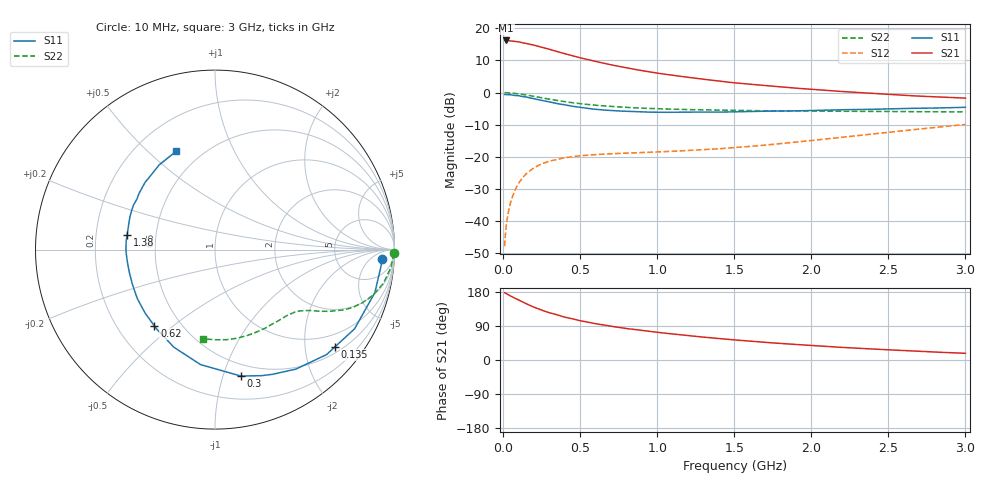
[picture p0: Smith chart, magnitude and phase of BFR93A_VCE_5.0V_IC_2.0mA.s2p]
! Infineon Technologies  Discrete & RF Semiconductors
! BFR93A
! VCE =  5.0 V,  IC =  2.0 mA
! Common Emitter S-Parameters:  Nov 2015
# GHz  S  MA  R  50
!  f  S11  S21  S12  S22
! GHz  MAG  ANG  MAG  ANG  MAG  ANG  MAG  ANG
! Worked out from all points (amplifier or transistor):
!   180 points, 10 MHz to 3 GHz, reference 50 ohm
!   highest |S21| = 16.2 dB at 20 MHz (marker M1)
!   |S21| within 3 dB of that: start of sweep to 318.7 MHz
!   unconditionally stable (mu >= 1): 991.1 MHz to 2.61 GHz
!   at 160 MHz: K = 0.20, MSG = 20.0 dB, |S12| = -24.9 dB
!   at 1.22 GHz: K = 1.12, MAG = 9.2 dB, |S12| = -18.0 dB
!   at 3 GHz: K = 0.92, MSG = 4.1 dB, |S12| = -9.9 dB
!   S11 on the Smith chart (normalised r, x): 10 MHz: 18, -14; 135 MHz: 0.64, -2.68; 300 MHz: 0.39, -1.15; 620 MHz: 0.36, -0.43; 1.38 GHz: 0.34, +0.07; 3 GHz: 0.37, +0.62
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0.01  0.9334 -3.1  6.434 177.7  0.0041 88.7  0.996 -1.2
0.02  0.9291 -6.0  6.439 175.3  0.0083 85.0  0.9937 -2.3
0.04  0.922 -12.1  6.38 170.8  0.0161 82.0  0.9874 -4.7
0.06  0.9121 -17.9  6.302 166.5  0.0237 78.8  0.9787 -7.0
0.1  0.8941 -29.6  6.127 158.4  0.0388 73.4  0.9573 -11.3
0.135  0.8604 -39.1  5.879 151.4  0.0498 67.6  0.9279 -14.6
0.15  0.8535 -43.3  5.801 148.2  0.0546 65.9  0.9163 -16.1
0.2  0.8036 -56.0  5.445 139.5  0.0676 60.1  0.8724 -19.9
0.26  0.7486 -69.8  4.984 130.2  0.0794 53.7  0.8206 -23.4
0.3  0.7188 -78.5  4.701 124.8  0.0858 50.7  0.7877 -25.3
0.4  0.6455 -97.2  4.012 113.1  0.097 44.6  0.7193 -28.6
0.5  0.5903 -112.8  3.465 103.6  0.1041 40.9  0.6697 -30.8
0.52  0.5796 -115.3  3.375 102.2  0.105 40.4  0.6625 -31.1
0.62  0.543 -128.4  2.968 94.6  0.1093 38.5  0.6284 -32.7
0.7  0.5264 -137.6  2.695 89.0  0.1119 37.9  0.607 -34.0
0.8  0.5116 -147.8  2.417 83.1  0.1145 37.9  0.5871 -35.5
1.02  0.4932 -166.5  1.97 72.2  0.1198 39.7  0.5584 -39.2
1.38  0.4963 170.8  1.525 57.5  0.1326 46.2  0.5346 -46.7
1.52  0.5016 163.4  1.401 52.4  0.1401 49.0  0.5268 -50.1
2.02  0.5274 142.8  1.114 37.8  0.1813 56.9  0.514 -63.9
2.52  0.5579 125.8  0.929 26.5  0.2443 58.6  0.5065 -79.8
3  0.589 111.5  0.818 17.7  0.3185 55.7  0.5016 -97.5
